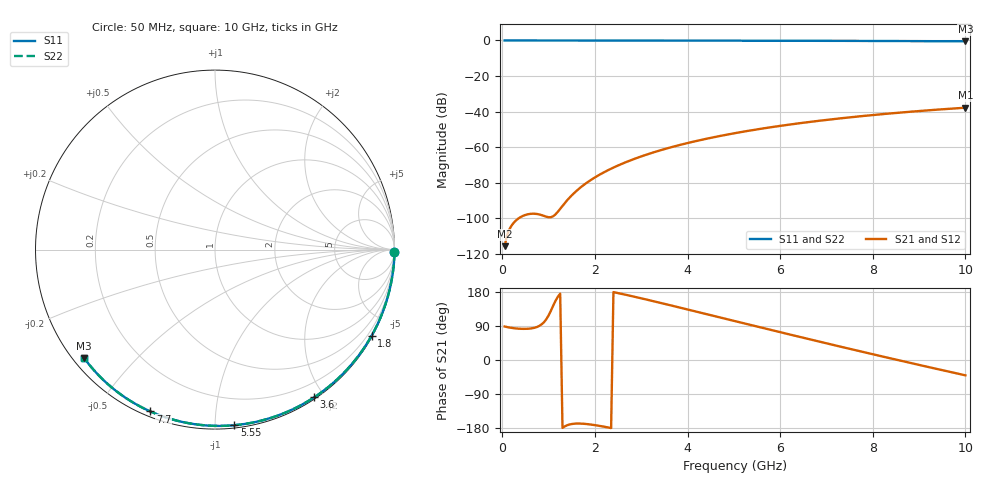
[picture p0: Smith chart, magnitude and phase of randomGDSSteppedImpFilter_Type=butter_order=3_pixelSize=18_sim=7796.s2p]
! freq	dB(S11)	phase(S11)	dB(S12)	phase(S12)
!  dB(S21)	phase(S21)	dB(S22)	phase(S22)
!S-par simulation data
#  GHz  S  DB  R 50
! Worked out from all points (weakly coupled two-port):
!   200 points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, 50 MHz to 10 GHz, reference 50 ohm
!   highest |S21| = -37.80 dB at 10 GHz (marker M1); lowest = -115.6 dB at 50 MHz (marker M2)
!   lowest |S11| = -0.5 dB at 10 GHz (marker M3), VSWR 36.60, Z = 1.54 - j18 ohm
!   |S11| at or under -10 dB: nowhere
!   |S22| runs from -0.5 to 0.0 dB; largest |S21 - S12| = 0
!   S11 on the Smith chart (normalised r, x): 50 MHz: open; 1.8 GHz: 0.03, -3.90; 3.6 GHz: 0.02, -1.88; 5.55 GHz: 0.02, -1.12; 7.7 GHz: 0.02, -0.68; 10 GHz: 0.03, -0.36
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0.05  -0.00 -0.8  -115.62 88.4  -115.62 88.4  -0.00 -0.8
0.45  -0.01 -7.3  -98.55 82.1  -98.55 82.1  -0.01 -7.3
0.9  -0.02 -14.5  -98.61 99.8  -98.61 99.8  -0.02 -14.5
1.75  -0.04 -28.0  -81.39 -168.2  -81.39 -168.2  -0.04 -28.0
1.8  -0.04 -28.7  -80.42 -168.7  -80.42 -168.7  -0.04 -28.7
1.85  -0.04 -29.5  -79.51 -169.3  -79.51 -169.3  -0.04 -29.5
2.05  -0.04 -32.6  -76.20 -172.8  -76.20 -172.8  -0.04 -32.6
2.2  -0.04 -35.0  -74.04 -176.0  -74.04 -176.0  -0.04 -35.0
2.55  -0.05 -40.4  -69.69 175.2  -69.69 175.2  -0.05 -40.4
2.95  -0.06 -46.4  -65.63 164.2  -65.63 164.2  -0.06 -46.4
3.4  -0.07 -53.2  -61.83 151.2  -61.83 151.2  -0.07 -53.2
3.6  -0.08 -56.1  -60.35 145.3  -60.35 145.3  -0.08 -56.1
3.9  -0.08 -60.5  -58.30 136.4  -58.30 136.4  -0.08 -60.5
4.3  -0.09 -66.3  -55.86 124.4  -55.86 124.4  -0.09 -66.3
5.05  -0.12 -76.9  -51.98 101.8  -51.98 101.8  -0.12 -76.9
5.55  -0.14 -83.7  -49.78 86.8  -49.78 86.8  -0.14 -83.7
6.1  -0.16 -91.1  -47.64 70.5  -47.64 70.5  -0.16 -91.1
6.7  -0.19 -99.0  -45.59 52.8  -45.59 52.8  -0.19 -99.0
7.7  -0.26 -111.8  -42.69 23.8  -42.69 23.8  -0.26 -111.8
8.35  -0.31 -119.9  -41.09 5.2  -41.09 5.2  -0.31 -119.9
9.2  -0.39 -130.5  -39.26 -18.5  -39.26 -18.5  -0.39 -130.4
10  -0.47 -140.3  -37.80 -40.4  -37.80 -40.4  -0.47 -140.3
